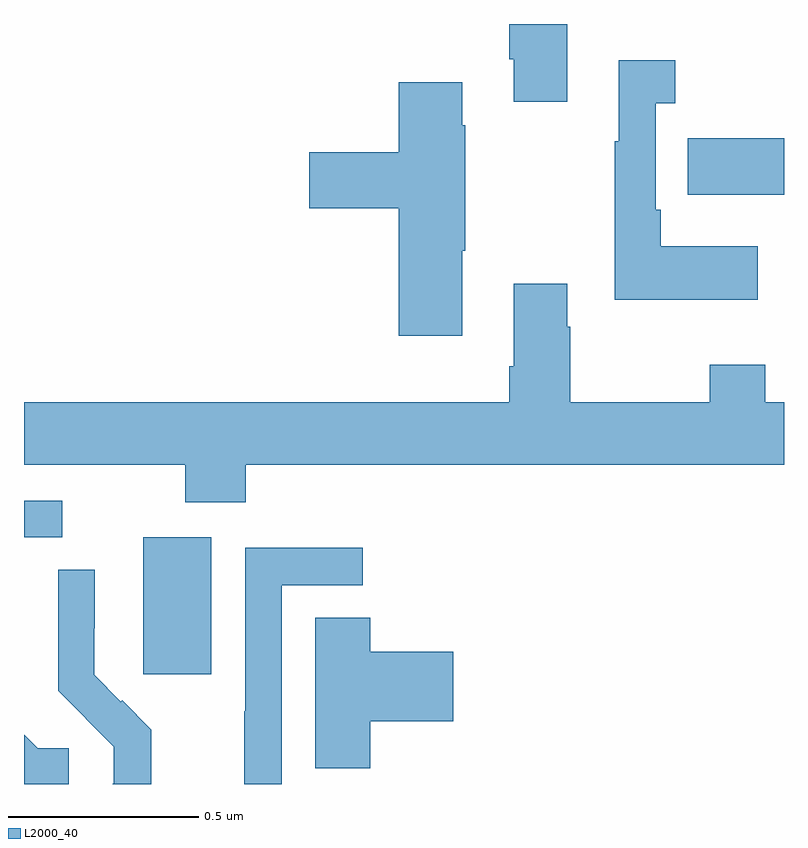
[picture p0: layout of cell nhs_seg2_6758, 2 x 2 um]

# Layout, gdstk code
import gdstk
lib = gdstk.Library(unit=1e-6, precision=1e-09)
def R(c, l, rs):  # rectangles x0, y0, x1, y1
    for r in rs: c.add(gdstk.rectangle(r[:2], r[2:], *l))
def P(c, l, *ps):  # polygons
    for p in ps: c.add(gdstk.Polygon(p, *l))
L2000_40 = (2000, 40)

nhs_seg2_6758 = lib.new_cell('nhs_seg2_6758')
R(nhs_seg2_6758, L2000_40, [(195.314,643.089,195.493,643.45), (195,643.449,195.1,643.545), (196.747,644.351,197,644.499)])
P(nhs_seg2_6758, L2000_40, [(196.429,644.8),(196.277,644.8),(196.277,644.707),(196.289,644.707),(196.289,644.595),(196.429,644.595)],
  [(196.931,644.215),(196.675,644.215),(196.675,644.311),(196.662,644.311),(196.662,644.591),(196.714,644.591),(196.714,644.704),(196.565,644.704),(196.565,644.491),(196.554,644.491),(196.554,644.075),(196.931,644.075)],
  [(196.153,644.203),(196.161,644.203),(196.161,644.534),(196.153,644.534),(196.153,644.647),(195.986,644.647),(195.986,644.462),(195.75,644.462),(195.75,644.315),(195.986,644.315),(195.986,643.98),(196.153,643.98)],
  [(195.584,643.64),(197,643.64),(197,643.804),(196.95,643.804),(196.95,643.903),(196.804,643.903),(196.804,643.804),(196.437,643.804),(196.437,644.003),(196.429,644.003),(196.429,644.116),(196.289,644.116),(196.289,643.9),(196.277,643.9),(196.277,643.804),(195,643.804),(195,643.64),(195.424,643.64),(195.424,643.541),(195.584,643.541)],
  [(195.678,643.323),(195.892,643.323),(195.892,643.422),(195.582,643.422),(195.582,642.992),(195.58,642.992),(195.58,642.8),(195.678,642.8)],
  [(195.335,642.943),(195.258,643.02),(195.255,643.017),(195.185,643.088),(195.185,643.21),(195.186,643.21),(195.186,643.364),(195.09,643.364),(195.09,643.046),(195.163,642.973),(195.162,642.972),(195.236,642.898),(195.236,642.801),(195.234,642.801),(195.234,642.8),(195.335,642.8)],
  [(195.911,642.965),(196.129,642.965),(196.129,643.148),(195.911,643.148),(195.911,643.238),(195.767,643.238),(195.767,642.841),(195.911,642.841)],
  [(195.118,642.894),(195.036,642.894),(195,642.93),(195,642.8),(195.118,642.8)])

lib.write_gds('nhs_seg2_6758.gds')
